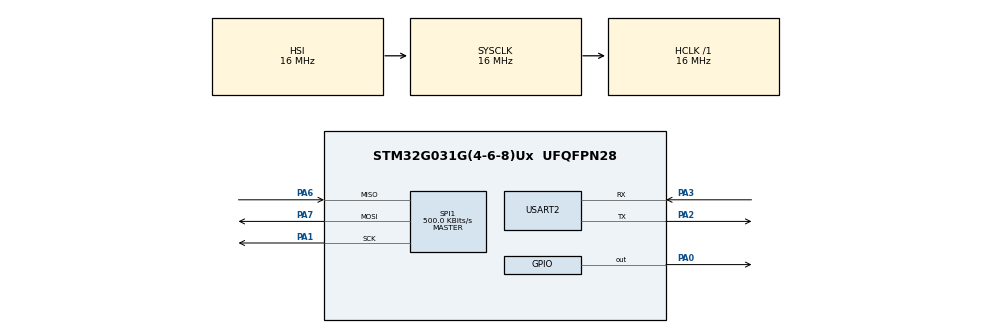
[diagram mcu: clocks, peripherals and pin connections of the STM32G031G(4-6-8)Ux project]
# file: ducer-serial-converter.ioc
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Mcu.Family=STM32G0
Mcu.Name=STM32G031G(4-6-8)Ux
Mcu.Package=UFQFPN28
PA0.Signal=GPIO_Output
PA1.Mode=Full_Duplex_Master
PA1.Signal=SPI1_SCK
PA13.Mode=Serial_Wire
PA13.Signal=SYS_SWDIO
PA14-BOOT0.Mode=Serial_Wire
PA14-BOOT0.Signal=SYS_SWCLK
PA2.Mode=Asynchronous
PA2.Signal=USART2_TX
PA3.Mode=Asynchronous
PA3.Signal=USART2_RX
PA6.Mode=Full_Duplex_Master
PA6.Signal=SPI1_MISO
PA7.Mode=Full_Duplex_Master
PA7.Signal=SPI1_MOSI
ProjectManager.HeapSize=0x200
ProjectManager.StackSize=0x400
ProjectManager.TargetToolchain=STM32CubeIDE
RCC.AHBFreq_Value=16000000
RCC.CortexFreq_Value=16000000
RCC.EXTERNAL_CLOCK_VALUE=12288000
RCC.HCLKFreq_Value=16000000
RCC.HSE_VALUE=8000000
RCC.HSI_VALUE=16000000
RCC.LSE_VALUE=32768
RCC.SYSCLKFreq_VALUE=16000000
RCC.VCOOutputFreq_Value=128000000
SPI1.BaudRatePrescaler=SPI_BAUDRATEPRESCALER_32
SPI1.CalculateBaudRate=500.0 KBits/s
SPI1.Direction=SPI_DIRECTION_2LINES
SPI1.Mode=SPI_MODE_MASTER
SPI1.VirtualType=VM_MASTER
USART2.VirtualMode-Asynchronous=VM_ASYNC
board=custom

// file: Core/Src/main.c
/* USER CODE BEGIN Header */
/**
 ******************************************************************************
 * @file           : main.c
 * @brief          : Main program body
 ******************************************************************************
 * @attention
 *
 * Copyright (c) 2022 STMicroelectronics.
 * All rights reserved.
 *
 * This software is licensed under terms that can be found in the LICENSE file
 * in the root directory of this software component.
 * If no LICENSE file comes with this software, it is provided AS-IS.
 *
 ******************************************************************************
 */
/* USER CODE END Header */
#include "main.h"

/* USER CODE BEGIN Includes */
#include <stdio.h>
/* USER CODE END Includes */

/* USER CODE BEGIN PM */

#define OUTPUT_MIN 1638.4        // 1638 counts (10% of 2^14 counts or 0x0666)
#define OUTPUT_MAX 14745.6       // 14745 counts (90% of 2^14 counts or 0x3999)
#define PRESSURE_MIN 0        // min is 0 for sensors that give absolute values
#define PRESSURE_MAX 6.8046   // 100psi, in bar

/* USER CODE END PM */

SPI_HandleTypeDef hspi1;

UART_HandleTypeDef huart2;

/* USER CODE BEGIN PV */

// Overwrite _write so printf prints to USB
int _write(int file, char *ptr, int len) {
	HAL_UART_Transmit(&huart2, (uint8_t*) ptr, len, HAL_MAX_DELAY);
	return len;
}

/* USER CODE END PV */

void SystemClock_Config(void);
static void MX_GPIO_Init(void);
static void MX_USART2_UART_Init(void);
static void MX_SPI1_Init(void);

int main(void) {

	/* MCU Configuration--------------------------------------------------------*/

	/* Reset of all peripherals, Initializes the Flash interface and the Systick. */
	HAL_Init();

	/* Configure the system clock */
	SystemClock_Config();

	/* Initialize all configured peripherals */
	MX_GPIO_Init();
	MX_USART2_UART_Init();
	MX_SPI1_Init();

	/* Infinite loop */
	/* USER CODE BEGIN WHILE */
	while (1) {
		static uint8_t values[4] = { 0 };
		HAL_GPIO_WritePin(GPIOA, GPIO_PIN_0, 0);
		HAL_SPI_Receive(&hspi1, values, sizeof(values),
		HAL_MAX_DELAY);
		HAL_GPIO_WritePin(GPIOA, GPIO_PIN_0, 1);

		uint8_t status = values[0] >> 6;
		uint16_t pressReading = (uint16_t) values[1]
				| ((((uint16_t) values[0]) & 0x3F) << 8);
		uint16_t tempReading = (uint16_t) (values[3] >> 5)
				| (((uint16_t) values[2]) << 3);

		float temp = ((float) tempReading / 2047.0) * 200 - 50;
		float pressure = (((float) pressReading - OUTPUT_MIN)
				* (PRESSURE_MAX - PRESSURE_MIN))
				/ (OUTPUT_MAX - OUTPUT_MIN)+ PRESSURE_MIN;

		// Read at 200hz? IDK
		HAL_Delay(5);
		/* USER CODE END WHILE */

	}
}

void SystemClock_Config(void) {
	RCC_OscInitTypeDef RCC_OscInitStruct = { 0 };
	RCC_ClkInitTypeDef RCC_ClkInitStruct = { 0 };

	/** Configure the main internal regulator output voltage
	 */
	HAL_PWREx_ControlVoltageScaling(PWR_REGULATOR_VOLTAGE_SCALE1);

	/** Initializes the RCC Oscillators according to the specified parameters
	 * in the RCC_OscInitTypeDef structure.
	 */
	RCC_OscInitStruct.OscillatorType = RCC_OSCILLATORTYPE_HSI;
	RCC_OscInitStruct.HSIState = RCC_HSI_ON;
	RCC_OscInitStruct.HSIDiv = RCC_HSI_DIV1;
	RCC_OscInitStruct.HSICalibrationValue = RCC_HSICALIBRATION_DEFAULT;
	RCC_OscInitStruct.PLL.PLLState = RCC_PLL_NONE;
	if (HAL_RCC_OscConfig(&RCC_OscInitStruct) != HAL_OK) {
		Error_Handler();
	}

	/** Initializes the CPU, AHB and APB buses clocks
	 */
	RCC_ClkInitStruct.ClockType = RCC_CLOCKTYPE_HCLK | RCC_CLOCKTYPE_SYSCLK
			| RCC_CLOCKTYPE_PCLK1;
	RCC_ClkInitStruct.SYSCLKSource = RCC_SYSCLKSOURCE_HSI;
	RCC_ClkInitStruct.AHBCLKDivider = RCC_SYSCLK_DIV1;
	RCC_ClkInitStruct.APB1CLKDivider = RCC_HCLK_DIV1;

	if (HAL_RCC_ClockConfig(&RCC_ClkInitStruct, FLASH_LATENCY_0) != HAL_OK) {
		Error_Handler();
	}
}

static void MX_SPI1_Init(void) {

	/* SPI1 parameter configuration*/
	hspi1.Instance = SPI1;
	hspi1.Init.Mode = SPI_MODE_MASTER;
	hspi1.Init.Direction = SPI_DIRECTION_2LINES;
	hspi1.Init.DataSize = SPI_DATASIZE_8BIT;
	hspi1.Init.CLKPolarity = SPI_POLARITY_LOW;
	hspi1.Init.CLKPhase = SPI_PHASE_1EDGE;
	hspi1.Init.NSS = SPI_NSS_SOFT;
	hspi1.Init.BaudRatePrescaler = SPI_BAUDRATEPRESCALER_32;
	hspi1.Init.FirstBit = SPI_FIRSTBIT_MSB;
	hspi1.Init.TIMode = SPI_TIMODE_DISABLE;
	hspi1.Init.CRCCalculation = SPI_CRCCALCULATION_DISABLE;
	hspi1.Init.CRCPolynomial = 7;
	hspi1.Init.CRCLength = SPI_CRC_LENGTH_DATASIZE;
	hspi1.Init.NSSPMode = SPI_NSS_PULSE_ENABLE;
	if (HAL_SPI_Init(&hspi1) != HAL_OK) {
		Error_Handler();
	}

}

static void MX_USART2_UART_Init(void) {

	huart2.Instance = USART2;
	huart2.Init.BaudRate = 115200;
	huart2.Init.WordLength = UART_WORDLENGTH_8B;
	huart2.Init.StopBits = UART_STOPBITS_1;
	huart2.Init.Parity = UART_PARITY_NONE;
	huart2.Init.Mode = UART_MODE_TX_RX;
	huart2.Init.HwFlowCtl = UART_HWCONTROL_NONE;
	huart2.Init.OverSampling = UART_OVERSAMPLING_16;
	huart2.Init.OneBitSampling = UART_ONE_BIT_SAMPLE_DISABLE;
	huart2.Init.ClockPrescaler = UART_PRESCALER_DIV1;
	huart2.AdvancedInit.AdvFeatureInit = UART_ADVFEATURE_NO_INIT;
	if (HAL_UART_Init(&huart2) != HAL_OK) {
		Error_Handler();
	}

}

static void MX_GPIO_Init(void) {
	GPIO_InitTypeDef GPIO_InitStruct = { 0 };

	/* GPIO Ports Clock Enable */
	__HAL_RCC_GPIOA_CLK_ENABLE();

	/*Configure GPIO pin Output Level */
	HAL_GPIO_WritePin(GPIOA, GPIO_PIN_0, GPIO_PIN_RESET);

	/*Configure GPIO pin : PA0 */
	GPIO_InitStruct.Pin = GPIO_PIN_0;
	GPIO_InitStruct.Mode = GPIO_MODE_OUTPUT_PP;
	GPIO_InitStruct.Pull = GPIO_NOPULL;
	GPIO_InitStruct.Speed = GPIO_SPEED_FREQ_LOW;
	HAL_GPIO_Init(GPIOA, &GPIO_InitStruct);

}

void Error_Handler(void) {
	__disable_irq();
	while (1) {
	}
}
